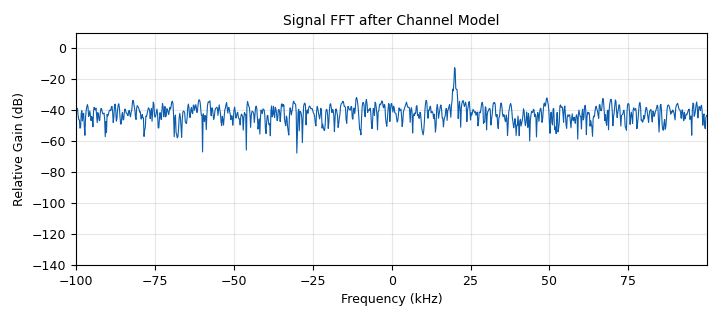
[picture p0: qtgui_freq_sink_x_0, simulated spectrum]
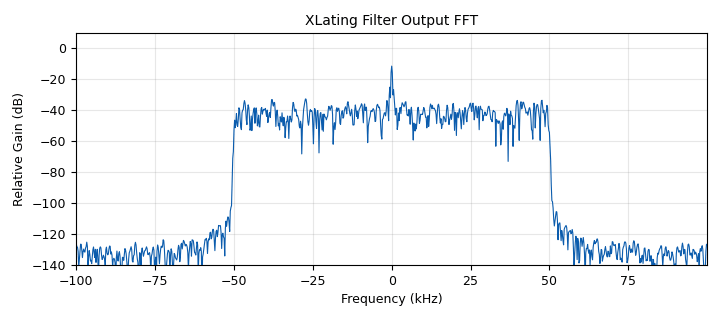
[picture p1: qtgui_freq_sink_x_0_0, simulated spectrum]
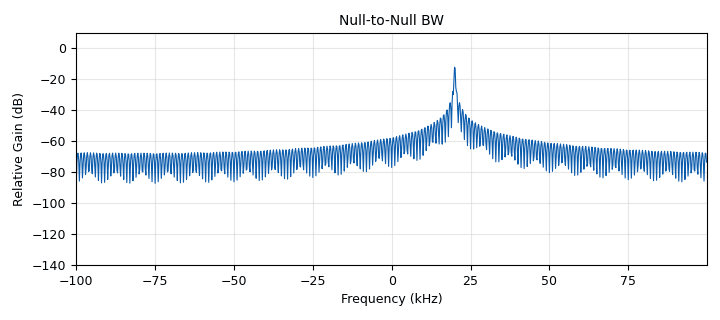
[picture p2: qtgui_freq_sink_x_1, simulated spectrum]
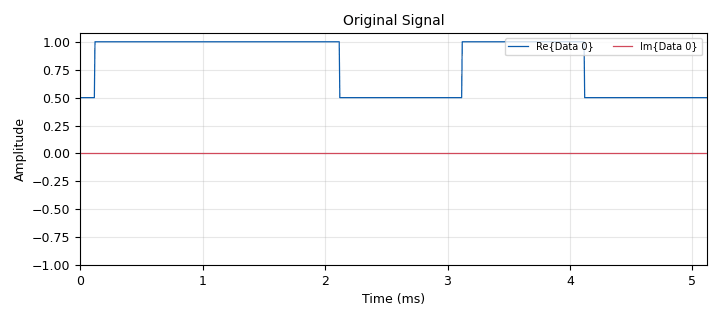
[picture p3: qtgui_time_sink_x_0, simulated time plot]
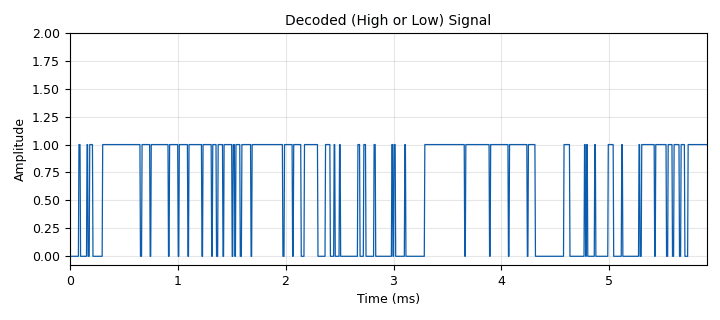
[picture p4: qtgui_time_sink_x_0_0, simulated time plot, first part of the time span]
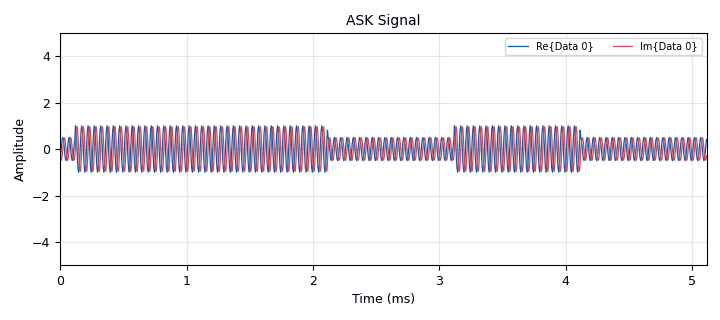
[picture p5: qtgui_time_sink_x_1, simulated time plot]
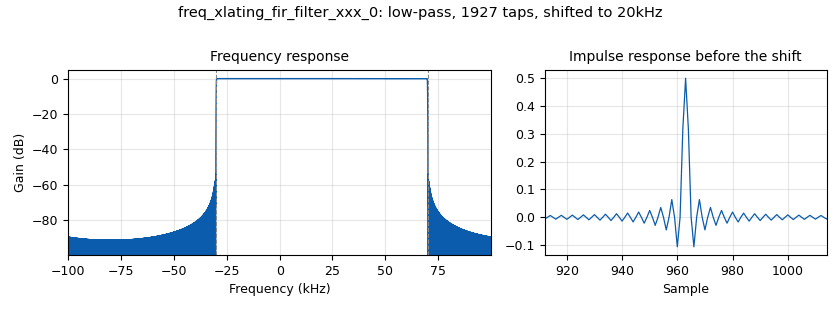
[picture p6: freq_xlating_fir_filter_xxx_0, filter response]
options:
  parameters:
    generate_options: qt_gui
    id: top_block
    output_language: python
  states: {}

blocks:
- name: carrier_freq
  id: variable
  parameters:
    value: '20000'
  states: {}
- name: cutoff_freq
  id: variable_qtgui_range
  parameters:
    orient: Qt.Horizontal
    start: '1'
    step: '250'
    stop: '50000'
    value: '50000'
  states: {}
- name: noise_voltage
  id: variable_qtgui_range
  parameters:
    orient: Qt.Horizontal
    start: '0'
    step: '0.1'
    stop: '2'
    value: '0.6'
  states: {}
- name: samp_rate
  id: variable
  parameters:
    value: '200000'
  states: {}
- name: samples_per_bit
  id: variable
  parameters:
    value: '200'
  states: {}
- name: analog_sig_source_x_0
  id: analog_sig_source_x
  parameters:
    amp: '1'
    freq: carrier_freq
    offset: '0'
    phase: '0'
    samp_rate: samp_rate
    type: complex
    waveform: analog.GR_COS_WAVE
  states: {}
- name: blocks_complex_to_mag_squared_0
  id: blocks_complex_to_mag_squared
  parameters: {}
  states: {}
- name: blocks_file_sink_0
  id: blocks_file_sink
  parameters:
    file: /tmp/ask_out.bin
    type: byte
    unbuffered: 'True'
  states: {}
- name: blocks_float_to_uchar_0
  id: blocks_float_to_uchar
  parameters: {}
  states: {}
- name: blocks_keep_one_in_n_0
  id: blocks_keep_one_in_n
  parameters:
    n: samples_per_bit
    type: float
  states: {}
- name: blocks_multiply_xx_0
  id: blocks_multiply_xx
  parameters:
    type: complex
  states: {}
- name: blocks_repeat_0
  id: blocks_repeat
  parameters:
    interp: samples_per_bit
    type: complex
  states: {}
- name: blocks_threshold_ff_0
  id: blocks_threshold_ff
  parameters:
    high: '0.95'
    init: '0'
    low: '0.3'
  states: {}
- name: blocks_throttle_0
  id: blocks_throttle
  parameters:
    samples_per_second: samp_rate
    type: complex
  states: {}
- name: blocks_vector_source_x_0
  id: blocks_vector_source_x
  parameters:
    repeat: 'False'
    type: complex
    vector: '[1,1,0.5,1,0.5]*2000'
  states: {}
- name: channels_channel_model_0
  id: channels_channel_model
  parameters:
    epsilon: '1.0'
    freq_offset: '0.0'
    noise_voltage: noise_voltage
    seed: '0'
    taps: '1'
  states: {}
- name: freq_xlating_fir_filter_xxx_0
  id: freq_xlating_fir_filter_xxx
  parameters:
    center_freq: carrier_freq
    decim: '1'
    samp_rate: samp_rate
    taps: firdes.low_pass(1, samp_rate, cutoff_freq, 250)
    type: ccf
  states: {}
- name: note_0
  id: note
  parameters:
    note: Signal Mixing
  states: {}
- name: note_1
  id: note
  parameters:
    note: Adding Noise
  states: {}
- name: note_2
  id: note
  parameters:
    note: Demodulating Signal
  states: {}
- name: note_3
  id: note
  parameters:
    note: Decoding Signal
  states: {}
- name: note_4
  id: note
  parameters:
    note: Write to File
  states: {}
- name: qtgui_freq_sink_x_0
  id: qtgui_freq_sink_x
  parameters:
    bw: samp_rate
    fc: '0'
    fftsize: '1024'
    name: '"Signal FFT after Channel Model"'
    showports: 'True'
    type: complex
    wintype: firdes.WIN_BLACKMAN_hARRIS
  states: {}
- name: qtgui_freq_sink_x_0_0
  id: qtgui_freq_sink_x
  parameters:
    bw: samp_rate
    fc: '0'
    fftsize: '1024'
    name: '"XLating Filter Output FFT"'
    showports: 'True'
    type: complex
    wintype: firdes.WIN_BLACKMAN_hARRIS
  states: {}
- name: qtgui_freq_sink_x_1
  id: qtgui_freq_sink_x
  parameters:
    bw: samp_rate
    fc: '0'
    fftsize: '1024'
    name: '"Null-to-Null BW"'
    type: complex
    wintype: firdes.WIN_BLACKMAN_hARRIS
  states: {}
- name: qtgui_time_sink_x_0
  id: qtgui_time_sink_x
  parameters:
    ctrlpanel: 'True'
    label1: ''
    label2: ''
    name: '"Original Signal"'
    size: '1024'
    srate: samp_rate
    type: complex
    update_time: '0.50'
  states: {}
- name: qtgui_time_sink_x_0_0
  id: qtgui_time_sink_x
  parameters:
    label1: ''
    name: '"Decoded (High or Low) Signal"'
    size: '2100'
    srate: samp_rate
    type: float
    ymax: '2'
    ymin: '0'
  states: {}
- name: qtgui_time_sink_x_1
  id: qtgui_time_sink_x
  parameters:
    label1: ''
    label2: ''
    name: '"ASK Signal"'
    size: '1024'
    srate: samp_rate
    type: complex
    ymax: '5'
    ymin: '-5'
  states: {}
- name: qtgui_time_sink_x_1_0_0
  id: qtgui_time_sink_x
  parameters:
    label1: ''
    name: '"Mag^2 of Signal After Channel and XLating Filter"'
    size: '1024'
    srate: samp_rate
    type: float
    ymax: '15'
    ymin: '0'
  states: {}

connections:
- [analog_sig_source_x_0, '0', blocks_multiply_xx_0, '1']
- [blocks_complex_to_mag_squared_0, '0', blocks_threshold_ff_0, '0']
- [blocks_complex_to_mag_squared_0, '0', qtgui_time_sink_x_1_0_0, '0']
- [blocks_float_to_uchar_0, '0', blocks_file_sink_0, '0']
- [blocks_keep_one_in_n_0, '0', blocks_float_to_uchar_0, '0']
- [blocks_multiply_xx_0, '0', blocks_throttle_0, '0']
- [blocks_repeat_0, '0', blocks_multiply_xx_0, '0']
- [blocks_repeat_0, '0', qtgui_time_sink_x_0, '0']
- [blocks_threshold_ff_0, '0', blocks_keep_one_in_n_0, '0']
- [blocks_threshold_ff_0, '0', qtgui_time_sink_x_0_0, '0']
- [blocks_throttle_0, '0', channels_channel_model_0, '0']
- [blocks_throttle_0, '0', qtgui_freq_sink_x_1, '0']
- [blocks_throttle_0, '0', qtgui_time_sink_x_1, '0']
- [blocks_vector_source_x_0, '0', blocks_repeat_0, '0']
- [channels_channel_model_0, '0', freq_xlating_fir_filter_xxx_0, '0']
- [channels_channel_model_0, '0', qtgui_freq_sink_x_0, '0']
- [freq_xlating_fir_filter_xxx_0, '0', blocks_complex_to_mag_squared_0, '0']
- [freq_xlating_fir_filter_xxx_0, '0', qtgui_freq_sink_x_0_0, '0']

metadata:
  file_format: 1
